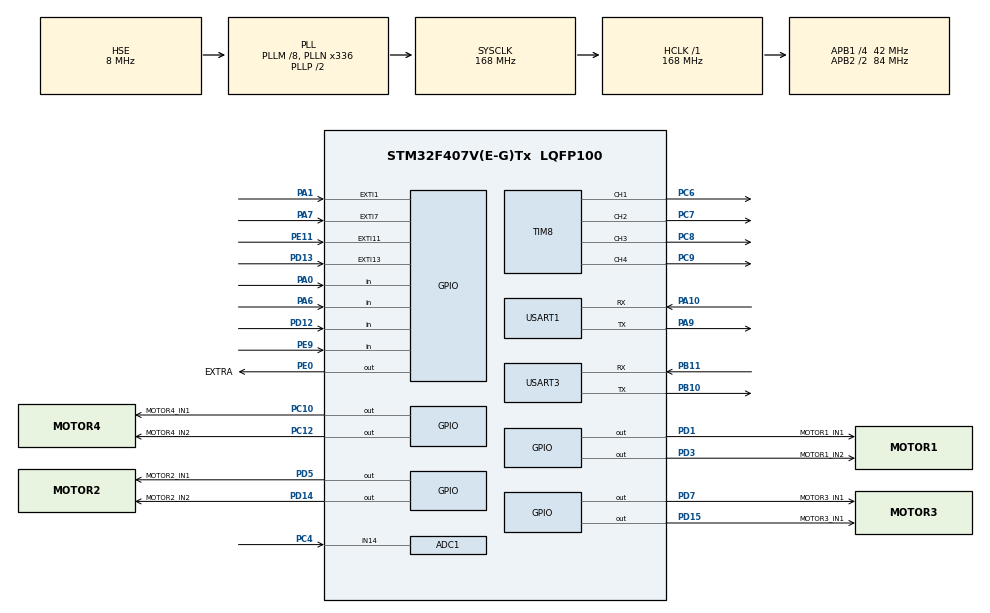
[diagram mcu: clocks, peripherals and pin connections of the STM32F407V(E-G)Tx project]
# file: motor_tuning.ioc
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ADC1.Channel-0\#ChannelRegularConversion=ADC_CHANNEL_14
ADC1.NbrOfConversionFlag=1
ADC1.Rank-0\#ChannelRegularConversion=1
ADC1.SamplingTime-0\#ChannelRegularConversion=ADC_SAMPLETIME_3CYCLES
ADC1.master=1
Mcu.Family=STM32F4
Mcu.Name=STM32F407V(E-G)Tx
Mcu.Package=LQFP100
NVIC.EXTI15_10_IRQn=true\:0\:0\:false\:false\:true\:true
NVIC.EXTI1_IRQn=true\:0\:0\:false\:false\:true\:true
NVIC.EXTI9_5_IRQn=true\:0\:0\:false\:false\:true\:true
NVIC.PriorityGroup=NVIC_PRIORITYGROUP_4
PA0-WKUP.GPIO_PuPd=GPIO_PULLUP
PA0-WKUP.Signal=GPIO_Input
PA1.Signal=GPXTI1
PA10.Mode=Asynchronous
PA10.Signal=USART1_RX
PA13.Mode=Trace_Asynchronous_SW
PA13.Signal=SYS_JTMS-SWDIO
PA14.Mode=Trace_Asynchronous_SW
PA14.Signal=SYS_JTCK-SWCLK
PA6.GPIO_PuPd=GPIO_PULLUP
PA6.Signal=GPIO_Input
PA7.Signal=GPXTI7
PA9.Mode=Asynchronous
PA9.Signal=USART1_TX
PB10.Mode=Asynchronous
PB10.Signal=USART3_TX
PB11.Mode=Asynchronous
PB11.Signal=USART3_RX
PB3.Mode=Trace_Asynchronous_SW
PB3.Signal=SYS_JTDO-SWO
PC10.GPIO_Label=MOTOR4_IN1
PC10.GPIO_Speed=GPIO_SPEED_FREQ_VERY_HIGH
PC10.Signal=GPIO_Output
PC12.GPIO_Label=MOTOR4_IN2
PC12.GPIO_Speed=GPIO_SPEED_FREQ_VERY_HIGH
PC12.Signal=GPIO_Output
PC4.Signal=ADCx_IN14
PC6.Signal=S_TIM8_CH1
PC7.Signal=S_TIM8_CH2
PC8.Signal=S_TIM8_CH3
PC9.Signal=S_TIM8_CH4
PD1.GPIO_Label=MOTOR1_IN1
PD1.GPIO_Speed=GPIO_SPEED_FREQ_VERY_HIGH
PD1.Signal=GPIO_Output
PD12.GPIO_Mode=GPIO_MODE_INPUT
PD12.GPIO_PuPd=GPIO_PULLUP
PD12.Signal=GPIO_Input
PD13.Signal=GPXTI13
PD14.GPIO_Label=MOTOR2_IN2
PD14.GPIO_Speed=GPIO_SPEED_FREQ_VERY_HIGH
PD14.Signal=GPIO_Output
PD15.GPIO_Label=MOTOR3_IN1
PD15.GPIO_Speed=GPIO_SPEED_FREQ_VERY_HIGH
PD15.Signal=GPIO_Output
PD3.GPIO_Label=MOTOR1_IN2
PD3.GPIO_Speed=GPIO_SPEED_FREQ_VERY_HIGH
PD3.Signal=GPIO_Output
PD5.GPIO_Label=MOTOR2_IN1
PD5.GPIO_Speed=GPIO_SPEED_FREQ_VERY_HIGH
PD5.Signal=GPIO_Output
PD7.GPIO_Label=MOTOR3_IN1
PD7.GPIO_Speed=GPIO_SPEED_FREQ_VERY_HIGH
PD7.Signal=GPIO_Output
PE0.GPIO_Label=EXTRA
PE0.GPIO_Speed=GPIO_SPEED_FREQ_VERY_HIGH
PE0.Signal=GPIO_Output
PE11.Signal=GPXTI11
PE9.GPIO_PuPd=GPIO_PULLUP
PE9.Signal=GPIO_Input
PH0-OSC_IN.Mode=HSE-External-Oscillator
PH0-OSC_IN.Signal=RCC_OSC_IN
PH1-OSC_OUT.Mode=HSE-External-Oscillator
PH1-OSC_OUT.Signal=RCC_OSC_OUT
ProjectManager.HeapSize=0x200
ProjectManager.StackSize=0x400
ProjectManager.TargetToolchain=MDK-ARM V5
RCC.48MHZClocksFreq_Value=84000000
RCC.AHBFreq_Value=168000000
RCC.APB1CLKDivider=RCC_HCLK_DIV4
RCC.APB1Freq_Value=42000000
RCC.APB1TimFreq_Value=84000000
RCC.APB2CLKDivider=RCC_HCLK_DIV2
RCC.APB2Freq_Value=84000000
RCC.APB2TimFreq_Value=168000000
RCC.CortexFreq_Value=168000000
RCC.HCLKFreq_Value=168000000
RCC.HSE_VALUE=8000000
RCC.HSI_VALUE=16000000
RCC.LSE_VALUE=32768
RCC.PLLM=8
RCC.PLLN=336
RCC.PLLSourceVirtual=RCC_PLLSOURCE_HSE
RCC.SYSCLKFreq_VALUE=168000000
RCC.SYSCLKSource=RCC_SYSCLKSOURCE_PLLCLK
RCC.VCOOutputFreq_Value=336000000
SH.ADCx_IN14.0=ADC1_IN14,IN14
SH.S_TIM8_CH1.0=TIM8_CH1,PWM Generation1 CH1
SH.S_TIM8_CH2.0=TIM8_CH2,PWM Generation2 CH2
SH.S_TIM8_CH3.0=TIM8_CH3,PWM Generation3 CH3
SH.S_TIM8_CH4.0=TIM8_CH4,PWM Generation4 CH4
TIM8.Channel-PWM\ Generation1\ CH1=TIM_CHANNEL_1
TIM8.Channel-PWM\ Generation2\ CH2=TIM_CHANNEL_2
TIM8.Channel-PWM\ Generation3\ CH3=TIM_CHANNEL_3
TIM8.Channel-PWM\ Generation4\ CH4=TIM_CHANNEL_4
USART1.VirtualMode=VM_ASYNC
USART3.VirtualMode=VM_ASYNC
board=custom

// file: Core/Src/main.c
/**
  ******************************************************************************
  * @file           : main.c
  * @brief          : Main program body
  ******************************************************************************
  ** This notice applies to any and all portions of this file
  * that are not between comment pairs USER CODE BEGIN and
  * USER CODE END. Other portions of this file, whether
  * inserted by the user or by software development tools
  * are owned by their respective copyright owners.
  *
  * COPYRIGHT(c) 2018 STMicroelectronics
  *
  * Redistribution and use in source and binary forms, with or without modification,
  * are permitted provided that the following conditions are met:
  *   1. Redistributions of source code must retain the above copyright notice,
  *      this list of conditions and the following disclaimer.
  *   2. Redistributions in binary form must reproduce the above copyright notice,
  *      this list of conditions and the following disclaimer in the documentation
  *      and/or other materials provided with the distribution.
  *   3. Neither the name of STMicroelectronics nor the names of its contributors
  *      may be used to endorse or promote products derived from this software
  *      without specific prior written permission.
  *
  * THIS SOFTWARE IS PROVIDED BY THE COPYRIGHT HOLDERS AND CONTRIBUTORS "AS IS"
  * AND ANY EXPRESS OR IMPLIED WARRANTIES, INCLUDING, BUT NOT LIMITED TO, THE
  * IMPLIED WARRANTIES OF MERCHANTABILITY AND FITNESS FOR A PARTICULAR PURPOSE ARE
  * DISCLAIMED. IN NO EVENT SHALL THE COPYRIGHT HOLDER OR CONTRIBUTORS BE LIABLE
  * FOR ANY DIRECT, INDIRECT, INCIDENTAL, SPECIAL, EXEMPLARY, OR CONSEQUENTIAL
  * DAMAGES (INCLUDING, BUT NOT LIMITED TO, PROCUREMENT OF SUBSTITUTE GOODS OR
  * SERVICES; LOSS OF USE, DATA, OR PROFITS; OR BUSINESS INTERRUPTION) HOWEVER
  * CAUSED AND ON ANY THEORY OF LIABILITY, WHETHER IN CONTRACT, STRICT LIABILITY,
  * OR TORT (INCLUDING NEGLIGENCE OR OTHERWISE) ARISING IN ANY WAY OUT OF THE USE
  * OF THIS SOFTWARE, EVEN IF ADVISED OF THE POSSIBILITY OF SUCH DAMAGE.
  *
  ******************************************************************************
  */
#include "main.h"
#include "stm32f4xx_hal.h"
#include "adc.h"
#include "tim.h"
#include "usart.h"
#include "gpio.h"
#include "pid.h"
#include <stdlib.h>

/* USER CODE BEGIN Includes */
#include "robo_init.h"
#include "robot.h"
#include "pid.h"

/* USER CODE END Includes */

#define PI 3.14159
int32_t counts[4] = {0,0,0,0};
/* USER CODE BEGIN PV */

/* Private variables ---------------------------------------------------------*/

/* USER CODE END PV */

void SystemClock_Config(void);

/* USER CODE BEGIN PFP */
/* Private function prototypes -----------------------------------------------*/

/* USER CODE END PFP */

/* USER CODE BEGIN 0 */

struct __FILE{

int handle;
};

FILE __stdout;
FILE __stdin;

int fputc(int ch, FILE *f)
{
	ITM_SendChar(ch);
	return(ch);
}

void HAL_GPIO_EXTI_Callback(uint16_t GPIO_Pin)
{
        switch (GPIO_Pin) {
                case GPIO_PIN_1 : {             // PA1
                        if (HAL_GPIO_ReadPin(GPIOA, GPIO_PIN_0))
                        {
                                ++counts[0];
                        }
                        else
                        {
                                --counts[0];
                        }
                } break;

                case GPIO_PIN_7 : {             // PA7
                        if (HAL_GPIO_ReadPin(GPIOA, GPIO_PIN_6))
                        {
                                ++counts[1];
                        }
                        else
                        {
                                --counts[1];
                        }
                } break;

                case GPIO_PIN_11 : {            // PE11
                        if (HAL_GPIO_ReadPin(GPIOE, GPIO_PIN_9))
                        {
                                ++counts[2];
                        }
                        else
                        {
                                --counts[2];
                        }
                } break;

                case GPIO_PIN_13 : {            // PD13
                        if (HAL_GPIO_ReadPin(GPIOD, GPIO_PIN_12))
                        {
                                ++counts[3];
                        }
                        else
                        {
                                --counts[3];
                        }
                } break;

                default : {

                }
        }
}

/* USER CODE END 0 */

int main(void)

{
        /* USER CODE BEGIN 1 */
 	uint32_t update_tick = HAL_GetTick();
	uint32_t sample_time = 15L;
	uint16_t dt = 15;
		uint32_t break_tick ;

		float omega[4] = {0,0,0,0};
		float new_omega[4] = {0,0,0,0};

		uint16_t counts_per_st[4] = {0,0,0,0};
		struct Str_pid pid_1;
		struct Str_pid pid_2;
		struct Str_pid pid_3;
		struct Str_pid pid_4;

        /* USER CODE END 1 */

        /* MCU Configuration----------------------------------------------------------*/

        /* Reset of all peripherals, Initializes the Flash interface and the Systick. */
        HAL_Init();

        /* Configure the system clock */
        SystemClock_Config();

        /* Initialize all configured peripherals */
        MX_GPIO_Init();
        MX_ADC1_Init();
        MX_TIM8_Init();
        MX_USART1_UART_Init();
        MX_USART3_UART_Init();

        /* USER CODE BEGIN 2 */

				wheel_init();

				set_OutputLimit(&pid_1,120,-120);
				set_OutputLimit(&pid_2,120,-120);
				set_OutputLimit(&pid_3,120,-120);
				set_OutputLimit(&pid_4,120,-120);

				HAL_TIM_Base_Start(&htim8);
				HAL_TIM_PWM_Start(&htim8, TIM_CHANNEL_1);
				HAL_TIM_PWM_Start(&htim8, TIM_CHANNEL_2);
				HAL_TIM_PWM_Start(&htim8, TIM_CHANNEL_3);
				HAL_TIM_PWM_Start(&htim8, TIM_CHANNEL_4);
		    uint8_t data[2];

        /* USER CODE END 2 */

        /* Infinite loop */

				MX_USART1_UART_Init();
				int break_flag;
				while (1)
				{

				/* USER CODE BEGIN WHILE */
				    break_tick = HAL_GetTick();

					if ((HAL_GetTick()- update_tick)> sample_time)
					{

						update_tick = HAL_GetTick();

						set_Gains(&pid_1,0.5,0,0 );
						set_Gains(&pid_2,0.5,0,0 );
						set_Gains(&pid_3,0.5,0,0 );
						set_Gains(&pid_4,0.5,0,0 );

						counts_per_st[0] = abs(counts[0]);
						counts[0] = 0;

						counts_per_st[1] = abs(counts[1]);
						counts[1] = 0;

						counts_per_st[2] = abs(counts[2]);
						counts[2] = 0;

						counts_per_st[3] = abs(counts[3]);
						counts[3] = 0;

						omega[0] = 25.173 * counts_per_st[0]/dt;
						new_omega[0] = pid_Compute(&pid_1,15,omega[0],dt);

						omega[1] = 25.173 * counts_per_st[1]/dt;
						new_omega[1] = pid_Compute(&pid_2,15,omega[1],dt);

						omega[2] = 25.173 * counts_per_st[2]/dt;
						new_omega[2] = pid_Compute(&pid_3,15,omega[2],dt);

						omega[3] = 25.173 * counts_per_st[3]/dt;
						new_omega[3] = pid_Compute(&pid_4,15,omega[3],dt);

						set_Omega(&Wheel_arr[0],new_omega[0]);
						set_Omega(&Wheel_arr[1],new_omega[1]);
						set_Omega(&Wheel_arr[2],new_omega[2]);
						set_Omega(&Wheel_arr[3],new_omega[3]);

						printf(" %f\t %f \t %f \t %f  \n",omega[0],omega[1],omega[2],omega[3]);

				  }
					if(break_flag == 1)
					{
						break;
					}

				}
					/* USER CODE END WHILE */
            /* USER CODE BEGIN 3 */
		set_Omega(&Wheel_arr[0], 0);
		set_Omega(&Wheel_arr[1], 0);
		set_Omega(&Wheel_arr[2], 0);
		set_Omega(&Wheel_arr[3], 0);
}

        /* USER CODE END 3 */

void SystemClock_Config(void)
{
        RCC_OscInitTypeDef RCC_OscInitStruct;
        RCC_ClkInitTypeDef RCC_ClkInitStruct;

        /**Configure the main internal regulator output voltage
    */
        __HAL_RCC_PWR_CLK_ENABLE();

        __HAL_PWR_VOLTAGESCALING_CONFIG(PWR_REGULATOR_VOLTAGE_SCALE1);

        /**Initializes the CPU, AHB and APB busses clocks
    */
        RCC_OscInitStruct.OscillatorType = RCC_OSCILLATORTYPE_HSE;
        RCC_OscInitStruct.HSEState = RCC_HSE_ON;
        RCC_OscInitStruct.PLL.PLLState = RCC_PLL_ON;
        RCC_OscInitStruct.PLL.PLLSource = RCC_PLLSOURCE_HSE;
        RCC_OscInitStruct.PLL.PLLM = 8;
        RCC_OscInitStruct.PLL.PLLN = 336;
        RCC_OscInitStruct.PLL.PLLP = RCC_PLLP_DIV2;
        RCC_OscInitStruct.PLL.PLLQ = 4;
        if (HAL_RCC_OscConfig(&RCC_OscInitStruct) != HAL_OK)
        {
                _Error_Handler(__FILE__, __LINE__);
        }

        /**Initializes the CPU, AHB and APB busses clocks
    */
        RCC_ClkInitStruct.ClockType = RCC_CLOCKTYPE_HCLK | RCC_CLOCKTYPE_SYSCLK | RCC_CLOCKTYPE_PCLK1 | RCC_CLOCKTYPE_PCLK2;
        RCC_ClkInitStruct.SYSCLKSource = RCC_SYSCLKSOURCE_PLLCLK;
        RCC_ClkInitStruct.AHBCLKDivider = RCC_SYSCLK_DIV1;
        RCC_ClkInitStruct.APB1CLKDivider = RCC_HCLK_DIV4;
        RCC_ClkInitStruct.APB2CLKDivider = RCC_HCLK_DIV2;

        if (HAL_RCC_ClockConfig(&RCC_ClkInitStruct, FLASH_LATENCY_5) != HAL_OK)
        {
                _Error_Handler(__FILE__, __LINE__);
        }

        /**Configure the Systick interrupt time
    */
        HAL_SYSTICK_Config(HAL_RCC_GetHCLKFreq() / 1000);

        /**Configure the Systick
    */
        HAL_SYSTICK_CLKSourceConfig(SYSTICK_CLKSOURCE_HCLK);

        /* SysTick_IRQn interrupt configuration */
        HAL_NVIC_SetPriority(SysTick_IRQn, 0, 0);
}

void _Error_Handler(char *file, int line)
{
        while (1)
        {
        }
}

/************************ (C) COPYRIGHT STMicroelectronics *****END OF FILE****/
